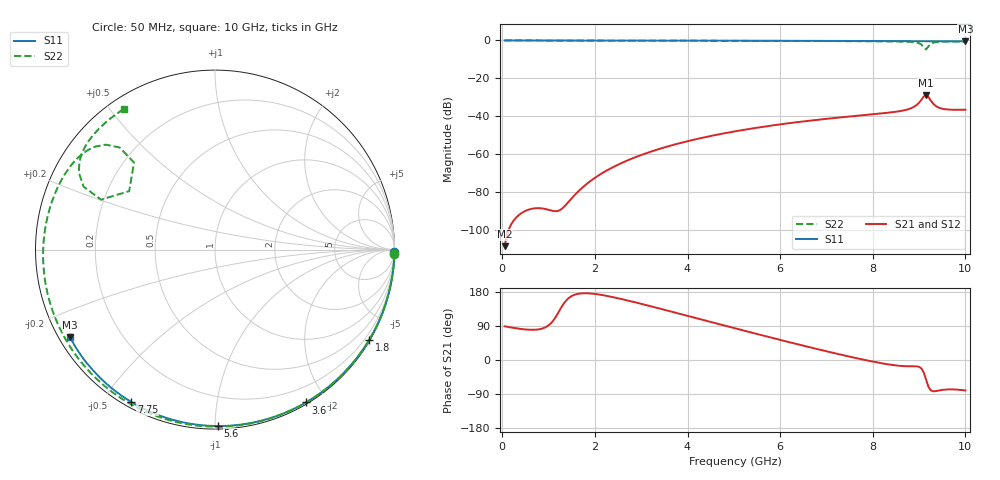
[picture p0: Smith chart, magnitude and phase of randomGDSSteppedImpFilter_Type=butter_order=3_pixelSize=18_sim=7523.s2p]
! freq	dB(S11)	phase(S11)	dB(S12)	phase(S12)
!  dB(S21)	phase(S21)	dB(S22)	phase(S22)
!S-par simulation data
#  GHz  S  DB  R 50
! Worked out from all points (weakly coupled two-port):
!   200 points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, 50 MHz to 10 GHz, reference 50 ohm
!   highest |S21| = -28.70 dB at 9.15 GHz (marker M1); lowest = -108.5 dB at 50 MHz (marker M2)
!   lowest |S11| = -0.5 dB at 10 GHz (marker M3), VSWR 34.63, Z = 1.56 - j13.9 ohm
!   |S11| at or under -10 dB: nowhere
!   |S22| runs from -4.8 to 0.0 dB; largest |S21 - S12| = 0
!   S11 on the Smith chart (normalised r, x): 50 MHz: open; 1.8 GHz: 0.03, -3.68; 3.6 GHz: 0.02, -1.76; 5.6 GHz: 0.02, -1.02; 7.75 GHz: 0.02, -0.59; 10 GHz: 0.03, -0.28
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0.05  -0.00 -0.9  -108.47 88.9  -108.47 88.9  -0.00 -1.4
0.8  -0.02 -13.6  -88.43 81.2  -88.43 81.2  -0.03 -21.8
1.6  -0.03 -27.1  -80.58 173.6  -80.58 173.6  -0.05 -43.0
1.75  -0.04 -29.6  -77.13 176.1  -77.13 176.1  -0.06 -46.9
1.8  -0.04 -30.4  -76.10 176.2  -76.10 176.2  -0.06 -48.2
2.45  -0.05 -41.0  -66.08 164.3  -66.08 164.3  -0.08 -64.7
3.4  -0.07 -56.2  -57.13 135.7  -57.13 135.7  -0.11 -87.8
3.6  -0.08 -59.3  -55.69 129.4  -55.69 129.4  -0.12 -92.5
4.3  -0.10 -70.0  -51.42 106.9  -51.42 106.9  -0.15 -108.5
5.05  -0.12 -81.1  -47.82 82.9  -47.82 82.9  -0.19 -125.3
5.6  -0.15 -89.1  -45.64 65.5  -45.64 65.5  -0.22 -137.3
6.7  -0.20 -104.5  -42.13 31.8  -42.13 31.8  -0.30 -161.3
7.75  -0.28 -118.8  -39.51 2.1  -39.51 2.1  -0.40 174.8
8.35  -0.33 -126.8  -38.05 -11.8  -38.05 -11.8  -0.50 159.9
8.8  -0.37 -132.8  -35.99 -16.5  -35.99 -16.5  -0.73 146.1
9  -0.39 -135.4  -32.82 -18.1  -32.82 -18.1  -1.48 136.1
9.1  -0.40 -136.7  -29.57 -32.7  -29.57 -32.7  -3.58 132.9
9.15  -0.40 -137.3  -28.70 -51.5  -28.70 -51.5  -4.75 145.8
9.2  -0.40 -138.0  -29.74 -70.2  -29.74 -70.2  -3.18 156.3
9.3  -0.41 -139.4  -33.22 -82.5  -33.22 -82.5  -1.19 150.5
9.5  -0.44 -142.1  -35.99 -79.0  -35.99 -79.0  -0.65 139.6
10  -0.50 -148.8  -36.52 -80.3  -36.52 -80.3  -0.60 122.9
